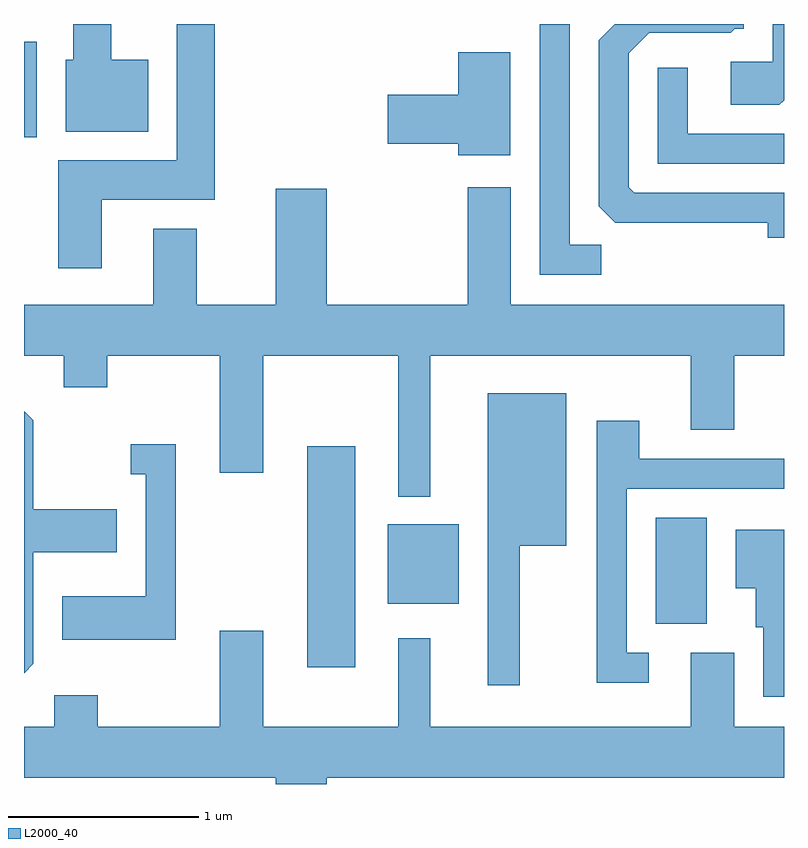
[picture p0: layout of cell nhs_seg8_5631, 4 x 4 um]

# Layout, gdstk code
import gdstk
lib = gdstk.Library(unit=1e-6, precision=1e-09)
def R(c, l, rs):  # rectangles x0, y0, x1, y1
    for r in rs: c.add(gdstk.rectangle(r[:2], r[2:], *l))
def P(c, l, *ps):  # polygons
    for p in ps: c.add(gdstk.Polygon(p, *l))
L2000_40 = (2000, 40)

nhs_seg8_5631 = lib.new_cell('nhs_seg8_5631')
R(nhs_seg8_5631, L2000_40, [(355.101,1876.956,355.354,1878.119), (356.936,1877.186,357.204,1877.744), (355.526,1877.291,355.899,1877.709), (353.611,1879.746,353.679,1880.249)])
P(nhs_seg8_5631, L2000_40, [(354.264,1880.154),(354.069,1880.154),(354.069,1880.342),(353.871,1880.342),(353.871,1880.154),(353.831,1880.154),(353.831,1879.776),(354.264,1879.776)],
  [(356.648,1879.179),(356.484,1879.179),(356.484,1880.342),(356.326,1880.342),(356.326,1879.021),(356.648,1879.021)],
  [(357.611,1879.454),(356.822,1879.454),(356.794,1879.482),(356.794,1880.189),(356.902,1880.296),(357.332,1880.296),(357.352,1880.316),(357.399,1880.316),(357.399,1880.342),(356.721,1880.342),(356.636,1880.257),(356.636,1879.382),(356.722,1879.296),(357.526,1879.296),(357.526,1879.218),(357.611,1879.218)],
  [(357.611,1879.94),(357.611,1880.342),(357.551,1880.342),(357.551,1880.144),(357.331,1880.144),(357.331,1879.916),(357.587,1879.916)],
  [(354.019,1879.416),(354.614,1879.416),(354.614,1880.342),(354.271,1880.342),(354.271,1880.341),(354.416,1880.341),(354.416,1879.624),(353.791,1879.624),(353.791,1879.056),(354.019,1879.056)],
  [(356.169,1880.194),(355.896,1880.194),(355.896,1879.969),(355.526,1879.969),(355.526,1879.711),(355.896,1879.711),(355.896,1879.651),(356.169,1879.651)],
  [(357.611,1879.764),(357.104,1879.764),(357.104,1880.113),(356.946,1880.113),(356.946,1879.606),(357.611,1879.606)],
  [(355.749,1878.596),(357.121,1878.596),(357.121,1878.206),(357.349,1878.206),(357.349,1878.596),(357.611,1878.596),(357.611,1878.864),(356.174,1878.864),(356.174,1879.484),(355.946,1879.484),(355.946,1878.864),(355.204,1878.864),(355.204,1879.474),(354.936,1879.474),(354.936,1878.864),(354.519,1878.864),(354.519,1879.264),(354.291,1879.264),(354.291,1878.864),(353.611,1878.864),(353.611,1878.596),(353.821,1878.596),(353.821,1878.431),(354.049,1878.431),(354.049,1878.596),(354.641,1878.596),(354.641,1877.981),(354.869,1877.981),(354.869,1878.596),(355.581,1878.596),(355.581,1877.853),(355.749,1877.853)],
  [(356.219,1877.596),(356.464,1877.596),(356.464,1878.399),(356.051,1878.399),(356.051,1876.863),(356.219,1876.863)],
  [(353.659,1876.974),(353.659,1877.561),(354.099,1877.561),(354.099,1877.789),(353.659,1877.789),(353.659,1878.257),(353.611,1878.305),(353.611,1876.926)],
  [(356.898,1877.034),(356.784,1877.034),(356.784,1877.896),(357.611,1877.896),(357.611,1878.054),(356.849,1878.054),(356.849,1878.254),(356.626,1878.254),(356.626,1876.876),(356.898,1876.876)],
  [(354.409,1878.129),(354.173,1878.129),(354.173,1877.971),(354.251,1877.971),(354.251,1877.329),(353.811,1877.329),(353.811,1877.101),(354.409,1877.101)],
  [(357.611,1877.679),(357.356,1877.679),(357.356,1877.371),(357.461,1877.371),(357.461,1877.166),(357.501,1877.166),(357.501,1876.801),(357.611,1876.801)],
  [(354.869,1877.149),(354.641,1877.149),(354.641,1876.644),(353.999,1876.644),(353.999,1876.809),(353.771,1876.809),(353.771,1876.644),(353.611,1876.644),(353.611,1876.376),(354.936,1876.376),(354.936,1876.342),(355.204,1876.342),(355.204,1876.376),(357.611,1876.376),(357.611,1876.644),(357.349,1876.644),(357.349,1877.034),(357.121,1877.034),(357.121,1876.644),(355.749,1876.644),(355.749,1877.108),(355.581,1877.108),(355.581,1876.644),(354.869,1876.644)])

lib.write_gds('nhs_seg8_5631.gds')
